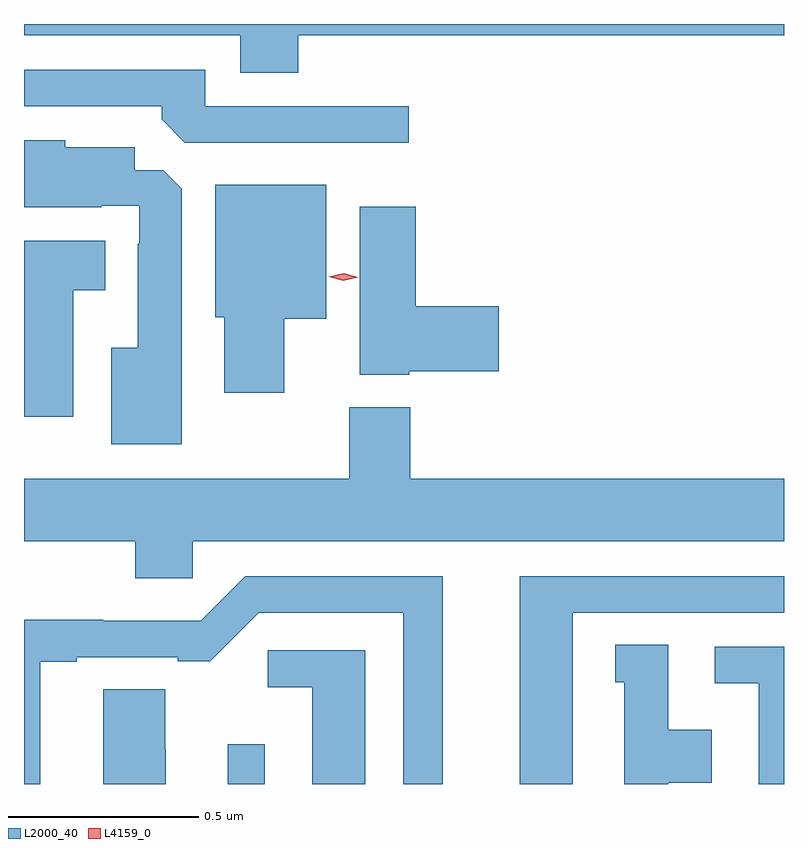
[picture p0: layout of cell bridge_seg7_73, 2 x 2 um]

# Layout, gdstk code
import gdstk
lib = gdstk.Library(unit=1e-6, precision=1e-09)
def R(c, l, rs):  # rectangles x0, y0, x1, y1
    for r in rs: c.add(gdstk.rectangle(r[:2], r[2:], *l))
def P(c, l, *ps):  # polygons
    for p in ps: c.add(gdstk.Polygon(p, *l))
L2000_40 = (2000, 40)
L4159_0 = (4159, 0)

bridge_seg7_73 = lib.new_cell('bridge_seg7_73')
R(bridge_seg7_73, L2000_40, [(1107.392,1030.613,1107.489,1030.717)])
P(bridge_seg7_73, L2000_40, [(1107.578,1032.584),(1108.856,1032.584),(1108.856,1032.613),(1106.856,1032.613),(1106.856,1032.584),(1107.425,1032.584),(1107.425,1032.485),(1107.578,1032.485)],
  [(1107.868,1032.396),(1107.333,1032.396),(1107.333,1032.492),(1106.856,1032.492),(1106.856,1032.396),(1107.218,1032.396),(1107.218,1032.362),(1107.279,1032.3),(1107.868,1032.3)],
  [(1107.271,1032.179),(1107.222,1032.228),(1107.148,1032.228),(1107.148,1032.289),(1106.964,1032.289),(1106.964,1032.307),(1106.856,1032.307),(1106.856,1032.131),(1107.059,1032.131),(1107.059,1032.135),(1107.159,1032.135),(1107.159,1032.035),(1107.155,1032.035),(1107.155,1031.761),(1107.086,1031.761),(1107.086,1031.507),(1107.271,1031.507)],
  [(1107.541,1031.837),(1107.652,1031.837),(1107.652,1032.19),(1107.359,1032.19),(1107.359,1031.841),(1107.383,1031.841),(1107.383,1031.643),(1107.541,1031.643)],
  [(1107.87,1031.699),(1108.105,1031.699),(1108.105,1031.87),(1107.887,1031.87),(1107.887,1032.132),(1107.74,1032.132),(1107.74,1031.69),(1107.87,1031.69)],
  [(1106.986,1031.912),(1107.07,1031.912),(1107.07,1032.043),(1106.856,1032.043),(1106.856,1031.58),(1106.986,1031.58)],
  [(1107.3,1031.252),(1108.856,1031.252),(1108.856,1031.416),(1107.872,1031.416),(1107.872,1031.605),(1107.712,1031.605),(1107.712,1031.416),(1106.856,1031.416),(1106.856,1031.252),(1107.149,1031.252),(1107.149,1031.154),(1107.3,1031.154)],
  [(1106.899,1030.935),(1106.995,1030.935),(1106.995,1030.947),(1107.26,1030.947),(1107.26,1030.936),(1107.346,1030.936),(1107.474,1031.064),(1107.854,1031.064),(1107.854,1030.613),(1107.958,1030.613),(1107.958,1031.16),(1107.438,1031.16),(1107.321,1031.043),(1107.065,1031.043),(1107.065,1031.045),(1106.856,1031.045),(1106.856,1030.613),(1106.899,1030.613)],
  [(1108.3,1031.064),(1108.856,1031.064),(1108.856,1031.16),(1108.16,1031.16),(1108.16,1030.613),(1108.3,1030.613)],
  [(1108.552,1030.616),(1108.666,1030.616),(1108.666,1030.756),(1108.552,1030.756),(1108.552,1030.979),(1108.412,1030.979),(1108.412,1030.881),(1108.436,1030.881),(1108.436,1030.613),(1108.552,1030.613)],
  [(1108.856,1030.974),(1108.674,1030.974),(1108.674,1030.878),(1108.79,1030.878),(1108.79,1030.613),(1108.856,1030.613)],
  [(1107.754,1030.965),(1107.498,1030.965),(1107.498,1030.868),(1107.614,1030.868),(1107.614,1030.613),(1107.754,1030.613)],
  [(1107.229,1030.704),(1107.228,1030.704),(1107.228,1030.862),(1107.065,1030.862),(1107.065,1030.613),(1107.229,1030.613)])
P(bridge_seg7_73, L4159_0, [(1107.696,1031.937),(1107.658,1031.948),(1107.658,1031.948),(1107.658,1031.948),(1107.697,1031.957),(1107.735,1031.946),(1107.735,1031.946),(1107.735,1031.946)])

lib.write_gds('bridge_seg7_73.gds')
